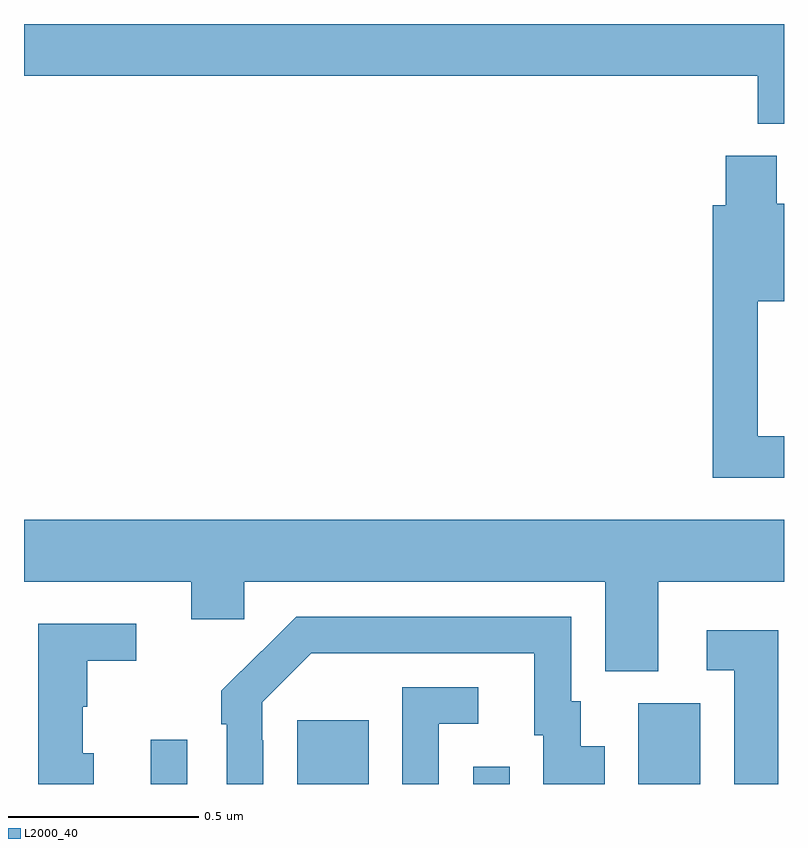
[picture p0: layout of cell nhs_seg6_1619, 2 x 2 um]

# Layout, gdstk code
import gdstk
lib = gdstk.Library(unit=1e-6, precision=1e-09)
def R(c, l, rs):  # rectangles x0, y0, x1, y1
    for r in rs: c.add(gdstk.rectangle(r[:2], r[2:], *l))
def P(c, l, *ps):  # polygons
    for p in ps: c.add(gdstk.Polygon(p, *l))
L2000_40 = (2000, 40)

nhs_seg6_1619 = lib.new_cell('nhs_seg6_1619')
R(nhs_seg6_1619, L2000_40, [(132.333,917.5,132.429,917.617), (132.719,917.5,132.907,917.668), (133.182,917.5,133.278,917.545), (133.616,917.5,133.78,917.712)])
P(nhs_seg6_1619, L2000_40, [(134,919.5),(132,919.5),(132,919.364),(133.931,919.364),(133.931,919.238),(134,919.238)],
  [(134,918.415),(133.931,918.415),(133.931,918.77),(134,918.77),(134,919.027),(133.981,919.027),(133.981,919.153),(133.847,919.153),(133.847,919.023),(133.813,919.023),(133.813,918.306),(134,918.306)],
  [(133.669,918.032),(134,918.032),(134,918.196),(132,918.196),(132,918.032),(132.44,918.032),(132.44,917.934),(132.579,917.934),(132.579,918.032),(133.529,918.032),(133.529,917.797),(133.669,917.797)],
  [(132.63,917.615),(132.627,917.615),(132.627,917.715),(132.756,917.844),(133.343,917.844),(133.343,917.628),(133.367,917.628),(133.367,917.5),(133.528,917.5),(133.528,917.599),(133.465,917.599),(133.465,917.718),(133.44,917.718),(133.44,917.94),(132.716,917.94),(132.625,917.849),(132.624,917.85),(132.519,917.745),(132.519,917.657),(132.534,917.657),(132.534,917.5),(132.63,917.5)],
  [(132.184,917.581),(132.155,917.581),(132.155,917.703),(132.166,917.703),(132.166,917.824),(132.295,917.824),(132.295,917.922),(132.037,917.922),(132.037,917.5),(132.184,917.5)],
  [(133.985,917.905),(133.797,917.905),(133.797,917.799),(133.869,917.799),(133.869,917.5),(133.985,917.5)],
  [(133.092,917.658),(133.195,917.658),(133.195,917.754),(132.996,917.754),(132.996,917.5),(133.092,917.5)])

lib.write_gds('nhs_seg6_1619.gds')
